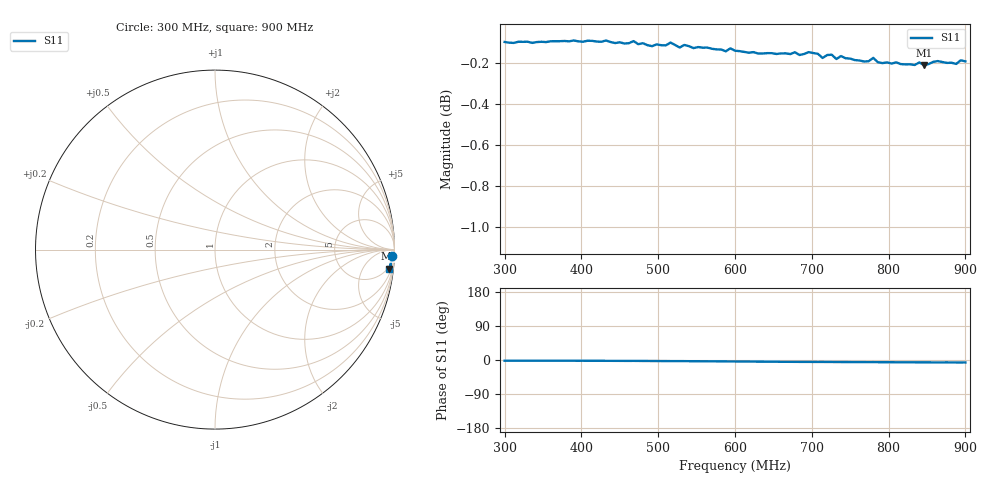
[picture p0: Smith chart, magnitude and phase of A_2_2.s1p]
# HZ S RI R 50
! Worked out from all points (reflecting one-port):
!   101 points, 300 MHz to 900 MHz, reference 50 ohm
!   lowest |S11| = -0.2 dB at 846 MHz (marker M1), VSWR 81.75, Z = 197 - j874 ohm
!   phase of S11 starts at -2 deg and turns -4 deg over the sweep
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3e8  0.988 -0.0335
3.78e8  0.9885 -0.0344
4.5e8  0.9876 -0.0398
4.68e8  0.9882 -0.0393
4.92e8  0.9851 -0.0458
5.16e8  0.9869 -0.0501
5.28e8  0.9841 -0.0513
5.34e8  0.9855 -0.052
6e8  0.9815 -0.0658
6.48e8  0.9792 -0.0792
6.78e8  0.9793 -0.0842
6.84e8  0.9777 -0.0847
6.96e8  0.9792 -0.0859
7.14e8  0.9758 -0.0875
7.26e8  0.9774 -0.0899
7.32e8  0.9749 -0.0909
7.38e8  0.9765 -0.0916
7.5e8  0.9748 -0.0941
7.68e8  0.973 -0.0962
7.8e8  0.975 -0.0965
7.92e8  0.9719 -0.0988
8.28e8  0.9708 -0.1032
8.46e8  0.9701 -0.106
8.7e8  0.9714 -0.109
8.76e8  0.9712 -0.1066
8.88e8  0.9702 -0.1105
8.94e8  0.972 -0.1124
9e8  0.9717 -0.1095
